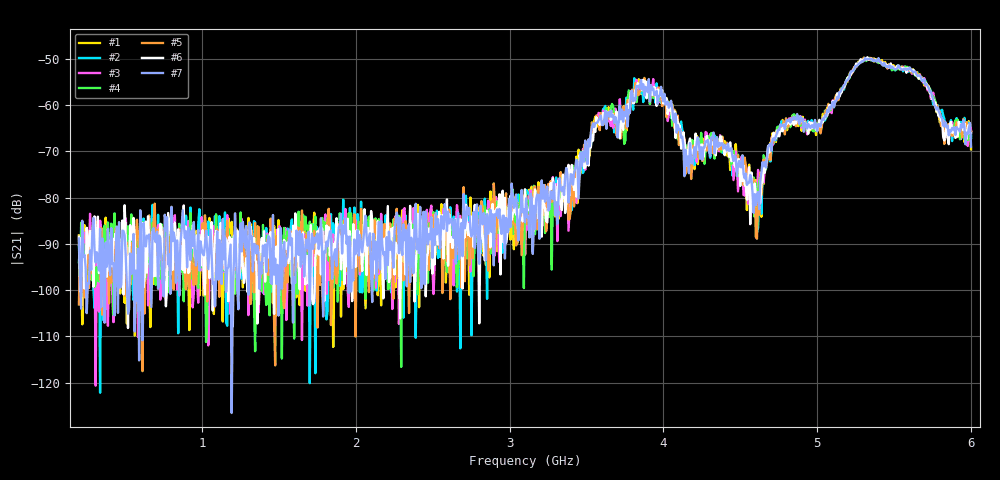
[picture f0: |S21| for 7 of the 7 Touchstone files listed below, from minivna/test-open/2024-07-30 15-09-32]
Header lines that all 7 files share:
! NanoVNA-App by OneOfEleven et al v1.1.209 (+OD15)
! Start: 200MHz Stop: 6GHz Points: 801
! S-Parameter data: F S11 S21 S12 S22
# Hz S RI R 50
!  Frequency  S11_Real  S11_Imag  S21_Real  S21_Imag  S12_Real  S12_Imag  S22_Real  S22_Imag
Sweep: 200 MHz to 6 GHz
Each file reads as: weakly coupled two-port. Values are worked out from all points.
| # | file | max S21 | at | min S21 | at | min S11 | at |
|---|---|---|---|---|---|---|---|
| 1 | 0.s2p | -49.79 dB | 5.333 GHz | -112.3 dB | 1.853 GHz | -3.2 dB | 2.708 GHz |
| 2 | 1.s2p | -49.86 dB | 5.34 GHz | -122.2 dB | 337.8 MHz | -3.2 dB | 2.708 GHz |
| 3 | 2.s2p | -49.86 dB | 5.319 GHz | -120.7 dB | 308.8 MHz | -3.2 dB | 2.708 GHz |
| 4 | 4.s2p | -49.76 dB | 5.34 GHz | -116.6 dB | 2.295 GHz | -3.2 dB | 2.701 GHz |
| 5 | 6.s2p | -49.71 dB | 5.304 GHz | -117.5 dB | 613.2 MHz | -3.2 dB | 2.716 GHz |
| 6 | 7.s2p | -49.64 dB | 5.326 GHz | -108.2 dB | 519 MHz | -3.2 dB | 2.716 GHz |
| 7 | 8.s2p | -49.80 dB | 5.311 GHz | -126.6 dB | 1.193 GHz | -3.2 dB | 2.708 GHz |
